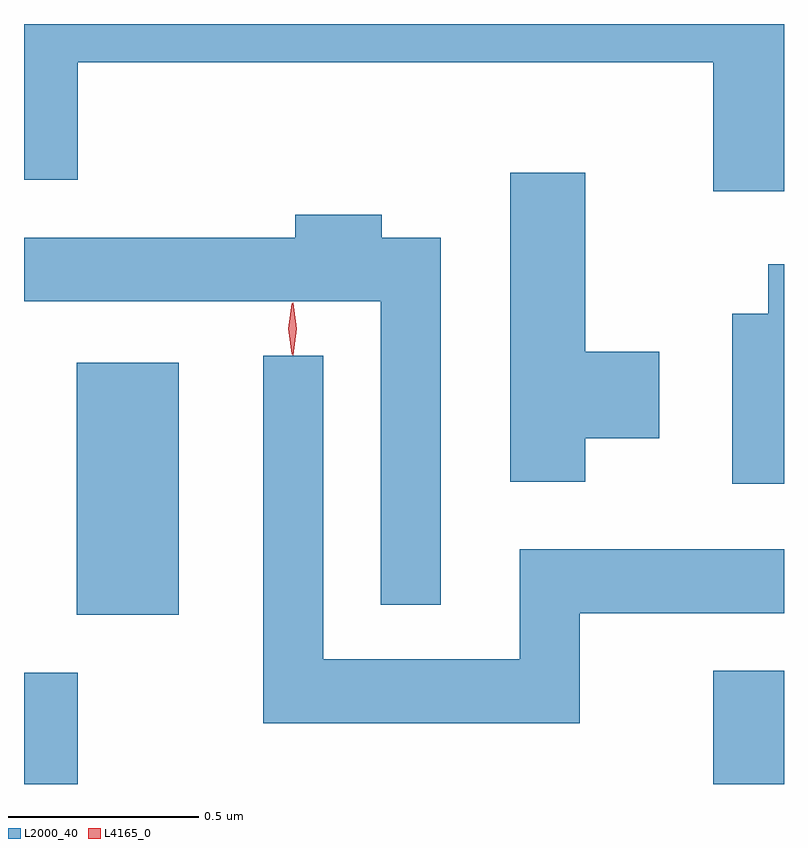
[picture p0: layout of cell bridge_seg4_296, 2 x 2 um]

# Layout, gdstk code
import gdstk
lib = gdstk.Library(unit=1e-6, precision=1e-09)
def R(c, l, rs):  # rectangles x0, y0, x1, y1
    for r in rs: c.add(gdstk.rectangle(r[:2], r[2:], *l))
def P(c, l, *ps):  # polygons
    for p in ps: c.add(gdstk.Polygon(p, *l))
L2000_40 = (2000, 40)
L4165_0 = (4165, 0)

bridge_seg4_296 = lib.new_cell('bridge_seg4_296')
R(bridge_seg4_296, L2000_40, [(516.307,1319.476,516.449,1319.769), (518.121,1319.476,518.307,1319.774), (516.446,1319.921,516.714,1320.584)])
P(bridge_seg4_296, L2000_40, [(518.307,1321.476),(516.307,1321.476),(516.307,1321.066),(516.449,1321.066),(516.449,1321.376),(518.121,1321.376),(518.121,1321.036),(518.307,1321.036)],
  [(517.784,1320.386),(517.979,1320.386),(517.979,1320.614),(517.784,1320.614),(517.784,1321.084),(517.586,1321.084),(517.586,1320.271),(517.784,1320.271)],
  [(517.404,1320.914),(517.249,1320.914),(517.249,1320.974),(517.021,1320.974),(517.021,1320.914),(516.307,1320.914),(516.307,1320.746),(517.246,1320.746),(517.246,1319.948),(517.404,1319.948)],
  [(518.307,1320.844),(518.266,1320.844),(518.266,1320.714),(518.171,1320.714),(518.171,1320.266),(518.307,1320.266)],
  [(517.769,1319.926),(518.307,1319.926),(518.307,1320.094),(517.611,1320.094),(517.611,1319.804),(517.094,1319.804),(517.094,1320.603),(516.936,1320.603),(516.936,1319.636),(517.769,1319.636)])
P(bridge_seg4_296, L4165_0, [(517.012,1320.607),(517.012,1320.608),(517.002,1320.674),(517.012,1320.74),(517.012,1320.74),(517.013,1320.74),(517.022,1320.674),(517.013,1320.608)],
  [(517.014,1320.604),(517.005,1320.674),(517.014,1320.742),(517.015,1320.743),(517.015,1320.742),(517.025,1320.674),(517.015,1320.604),(517.015,1320.604)])

lib.write_gds('bridge_seg4_296.gds')
